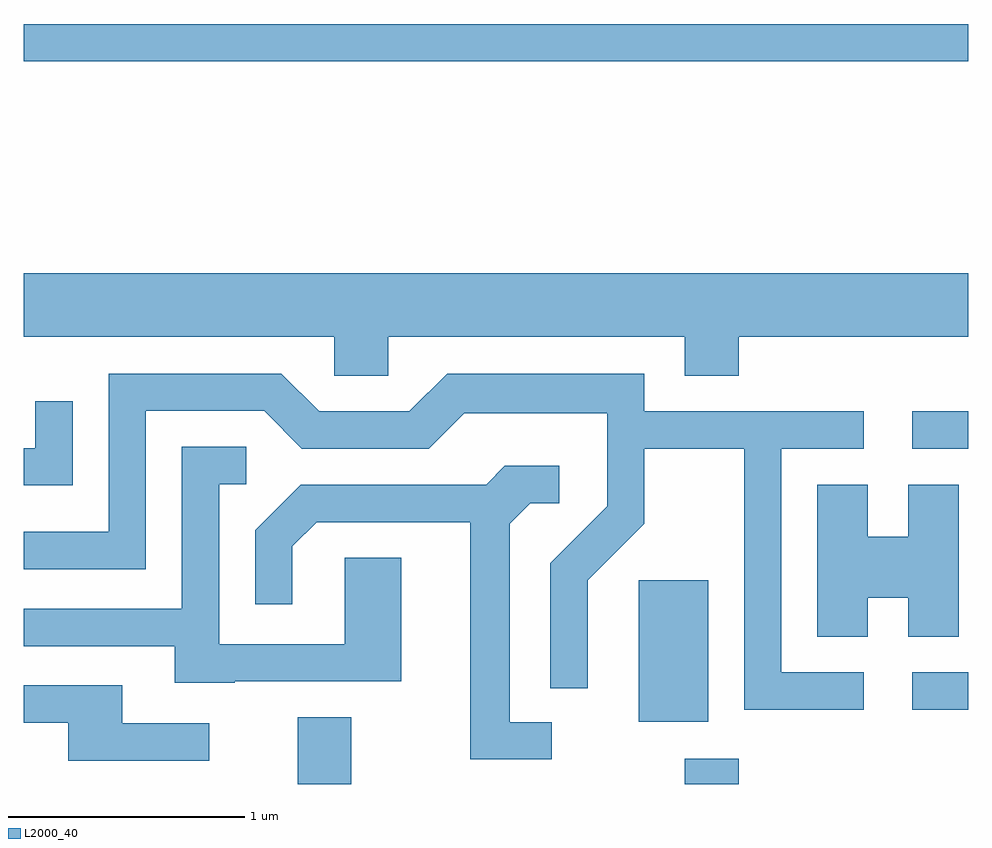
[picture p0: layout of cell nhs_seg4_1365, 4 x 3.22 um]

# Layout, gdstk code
import gdstk
lib = gdstk.Library(unit=1e-6, precision=1e-09)
def R(c, l, rs):  # rectangles x0, y0, x1, y1
    for r in rs: c.add(gdstk.rectangle(r[:2], r[2:], *l))
def P(c, l, *ps):  # polygons
    for p in ps: c.add(gdstk.Polygon(p, *l))
L2000_40 = (2000, 40)

nhs_seg4_1365 = lib.new_cell('nhs_seg4_1365')
R(nhs_seg4_1365, L2000_40, [(226.771,1263.982,226.999,1264.264), (228.411,1263.982,228.639,1264.089), (228.216,1264.246,228.509,1264.844), (229.373,1264.296,229.611,1264.454), (229.373,1265.401,229.611,1265.559), (225.611,1267.041,229.611,1267.199)])
P(nhs_seg4_1365, L2000_40, [(227.154,1265.876),(228.411,1265.876),(228.411,1265.711),(228.639,1265.711),(228.639,1265.876),(229.611,1265.876),(229.611,1266.144),(225.611,1266.144),(225.611,1265.876),(226.926,1265.876),(226.926,1265.711),(227.154,1265.711)],
  [(229.168,1264.454),(228.819,1264.454),(228.819,1265.401),(229.168,1265.401),(229.168,1265.559),(228.239,1265.559),(228.239,1265.719),(227.404,1265.719),(227.244,1265.559),(226.862,1265.559),(226.702,1265.719),(225.971,1265.719),(225.971,1265.049),(225.611,1265.049),(225.611,1264.891),(226.129,1264.891),(226.129,1265.561),(226.629,1265.561),(226.789,1265.401),(227.327,1265.401),(227.477,1265.551),(228.081,1265.551),(228.081,1265.157),(227.841,1264.917),(227.841,1264.388),(227.999,1264.388),(227.999,1264.844),(228.239,1265.084),(228.239,1265.401),(228.661,1265.401),(228.661,1264.296),(229.168,1264.296)],
  [(225.819,1265.603),(225.661,1265.603),(225.661,1265.404),(225.611,1265.404),(225.611,1265.246),(225.819,1265.246)],
  [(226.505,1264.416),(227.209,1264.416),(227.209,1264.939),(226.971,1264.939),(226.971,1264.574),(226.439,1264.574),(226.439,1265.251),(226.553,1265.251),(226.553,1265.409),(226.281,1265.409),(226.281,1264.724),(225.611,1264.724),(225.611,1264.566),(226.251,1264.566),(226.251,1264.411),(226.505,1264.411)],
  [(227.848,1264.244),(227.669,1264.244),(227.669,1265.084),(227.757,1265.171),(227.878,1265.171),(227.878,1265.329),(227.649,1265.329),(227.569,1265.249),(226.784,1265.249),(226.591,1265.057),(226.591,1264.743),(226.749,1264.743),(226.749,1264.989),(226.852,1265.091),(227.501,1265.091),(227.501,1264.086),(227.848,1264.086)],
  [(229.184,1264.771),(229.356,1264.771),(229.356,1264.606),(229.569,1264.606),(229.569,1265.249),(229.356,1265.249),(229.356,1265.029),(229.184,1265.029),(229.184,1265.249),(228.971,1265.249),(228.971,1264.606),(229.184,1264.606)],
  [(226.398,1264.239),(226.029,1264.239),(226.029,1264.399),(225.611,1264.399),(225.611,1264.241),(225.801,1264.241),(225.801,1264.081),(226.398,1264.081)])

lib.write_gds('nhs_seg4_1365.gds')
